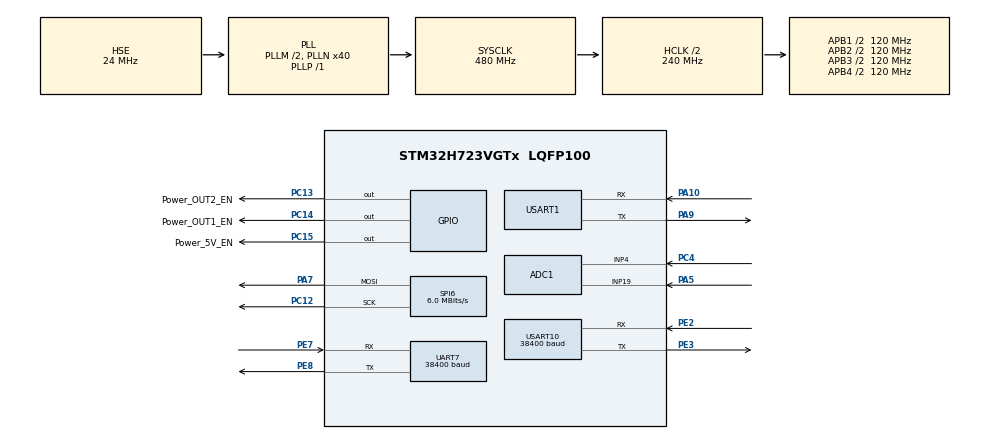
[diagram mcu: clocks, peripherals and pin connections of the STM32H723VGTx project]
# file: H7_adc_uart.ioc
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ADC1.Channel-2\#ChannelRegularConversion=ADC_CHANNEL_4
ADC1.Channel-3\#ChannelRegularConversion=ADC_CHANNEL_19
ADC1.ClockPrescaler=ADC_CLOCK_ASYNC_DIV64
ADC1.ContinuousConvMode=ENABLE
ADC1.ConversionDataManagement=ADC_CONVERSIONDATA_DMA_CIRCULAR
ADC1.EOCSelection=ADC_EOC_SINGLE_CONV
ADC1.NbrOfConversion=2
ADC1.NbrOfConversionFlag=1
ADC1.OffsetNumber-2\#ChannelRegularConversion=ADC_OFFSET_NONE
ADC1.OffsetNumber-3\#ChannelRegularConversion=ADC_OFFSET_NONE
ADC1.OffsetSignedSaturation-2\#ChannelRegularConversion=DISABLE
ADC1.OffsetSignedSaturation-3\#ChannelRegularConversion=DISABLE
ADC1.Overrun=ADC_OVR_DATA_PRESERVED
ADC1.Rank-2\#ChannelRegularConversion=1
ADC1.Rank-3\#ChannelRegularConversion=2
ADC1.SamplingTime-2\#ChannelRegularConversion=ADC_SAMPLETIME_32CYCLES_5
ADC1.SamplingTime-3\#ChannelRegularConversion=ADC_SAMPLETIME_32CYCLES_5
ADC1.master=1
Bdma.Request0=SPI6_TX
Bdma.RequestsNb=1
Bdma.SPI6_TX.0.Direction=DMA_MEMORY_TO_PERIPH
Bdma.SPI6_TX.0.EventEnable=DISABLE
Bdma.SPI6_TX.0.Instance=BDMA_Channel0
Bdma.SPI6_TX.0.MemDataAlignment=DMA_MDATAALIGN_BYTE
Bdma.SPI6_TX.0.MemInc=DMA_MINC_ENABLE
Bdma.SPI6_TX.0.Mode=DMA_NORMAL
Bdma.SPI6_TX.0.PeriphDataAlignment=DMA_PDATAALIGN_BYTE
Bdma.SPI6_TX.0.PeriphInc=DMA_PINC_DISABLE
Bdma.SPI6_TX.0.Polarity=HAL_DMAMUX_REQ_GEN_RISING
Bdma.SPI6_TX.0.Priority=DMA_PRIORITY_LOW
Bdma.SPI6_TX.0.RequestNumber=1
Bdma.SPI6_TX.0.SignalID=NONE
Bdma.SPI6_TX.0.SyncEnable=DISABLE
Bdma.SPI6_TX.0.SyncPolarity=HAL_DMAMUX_SYNC_NO_EVENT
Bdma.SPI6_TX.0.SyncRequestNumber=1
Bdma.SPI6_TX.0.SyncSignalID=NONE
CORTEX_M7.CPU_DCache=Disabled
CORTEX_M7.CPU_ICache=Disabled
Dma.ADC1.0.Direction=DMA_PERIPH_TO_MEMORY
Dma.ADC1.0.EventEnable=DISABLE
Dma.ADC1.0.FIFOMode=DMA_FIFOMODE_DISABLE
Dma.ADC1.0.Instance=DMA1_Stream0
Dma.ADC1.0.MemDataAlignment=DMA_MDATAALIGN_HALFWORD
Dma.ADC1.0.MemInc=DMA_MINC_ENABLE
Dma.ADC1.0.Mode=DMA_CIRCULAR
Dma.ADC1.0.PeriphDataAlignment=DMA_PDATAALIGN_HALFWORD
Dma.ADC1.0.PeriphInc=DMA_PINC_DISABLE
Dma.ADC1.0.Polarity=HAL_DMAMUX_REQ_GEN_RISING
Dma.ADC1.0.Priority=DMA_PRIORITY_LOW
Dma.ADC1.0.RequestNumber=1
Dma.ADC1.0.SignalID=NONE
Dma.ADC1.0.SyncEnable=DISABLE
Dma.ADC1.0.SyncPolarity=HAL_DMAMUX_SYNC_NO_EVENT
Dma.ADC1.0.SyncRequestNumber=1
Dma.ADC1.0.SyncSignalID=NONE
Dma.Request0=ADC1
Dma.Request1=USART1_RX
Dma.Request2=USART1_TX
Dma.Request3=USART10_RX
Dma.Request4=USART10_TX
Dma.Request5=UART7_RX
Dma.Request6=UART7_TX
Dma.UART7_RX.5.Direction=DMA_PERIPH_TO_MEMORY
Dma.UART7_RX.5.EventEnable=DISABLE
Dma.UART7_RX.5.FIFOMode=DMA_FIFOMODE_DISABLE
Dma.UART7_RX.5.Instance=DMA1_Stream4
Dma.UART7_RX.5.MemDataAlignment=DMA_MDATAALIGN_BYTE
Dma.UART7_RX.5.MemInc=DMA_MINC_ENABLE
Dma.UART7_RX.5.Mode=DMA_NORMAL
Dma.UART7_RX.5.PeriphDataAlignment=DMA_PDATAALIGN_BYTE
Dma.UART7_RX.5.PeriphInc=DMA_PINC_DISABLE
Dma.UART7_RX.5.Polarity=HAL_DMAMUX_REQ_GEN_RISING
Dma.UART7_RX.5.Priority=DMA_PRIORITY_LOW
Dma.UART7_RX.5.RequestNumber=1
Dma.UART7_RX.5.SignalID=NONE
Dma.UART7_RX.5.SyncEnable=DISABLE
Dma.UART7_RX.5.SyncPolarity=HAL_DMAMUX_SYNC_NO_EVENT
Dma.UART7_RX.5.SyncRequestNumber=1
Dma.UART7_RX.5.SyncSignalID=NONE
Dma.UART7_TX.6.Direction=DMA_MEMORY_TO_PERIPH
Dma.UART7_TX.6.EventEnable=DISABLE
Dma.UART7_TX.6.FIFOMode=DMA_FIFOMODE_DISABLE
Dma.UART7_TX.6.Instance=DMA1_Stream5
Dma.UART7_TX.6.MemDataAlignment=DMA_MDATAALIGN_BYTE
Dma.UART7_TX.6.MemInc=DMA_MINC_ENABLE
Dma.UART7_TX.6.Mode=DMA_NORMAL
Dma.UART7_TX.6.PeriphDataAlignment=DMA_PDATAALIGN_BYTE
Dma.UART7_TX.6.PeriphInc=DMA_PINC_DISABLE
Dma.UART7_TX.6.Polarity=HAL_DMAMUX_REQ_GEN_RISING
Dma.UART7_TX.6.Priority=DMA_PRIORITY_LOW
Dma.UART7_TX.6.RequestNumber=1
Dma.UART7_TX.6.SignalID=NONE
Dma.UART7_TX.6.SyncEnable=DISABLE
Dma.UART7_TX.6.SyncPolarity=HAL_DMAMUX_SYNC_NO_EVENT
Dma.UART7_TX.6.SyncRequestNumber=1
Dma.UART7_TX.6.SyncSignalID=NONE
Dma.USART10_RX.3.Direction=DMA_PERIPH_TO_MEMORY
Dma.USART10_RX.3.EventEnable=DISABLE
Dma.USART10_RX.3.FIFOMode=DMA_FIFOMODE_DISABLE
Dma.USART10_RX.3.Instance=DMA1_Stream2
Dma.USART10_RX.3.MemDataAlignment=DMA_MDATAALIGN_BYTE
Dma.USART10_RX.3.MemInc=DMA_MINC_ENABLE
Dma.USART10_RX.3.Mode=DMA_NORMAL
Dma.USART10_RX.3.PeriphDataAlignment=DMA_PDATAALIGN_BYTE
Dma.USART10_RX.3.PeriphInc=DMA_PINC_DISABLE
Dma.USART10_RX.3.Polarity=HAL_DMAMUX_REQ_GEN_RISING
Dma.USART10_RX.3.Priority=DMA_PRIORITY_LOW
Dma.USART10_RX.3.RequestNumber=1
Dma.USART10_RX.3.SignalID=NONE
Dma.USART10_RX.3.SyncEnable=DISABLE
Dma.USART10_RX.3.SyncPolarity=HAL_DMAMUX_SYNC_NO_EVENT
Dma.USART10_RX.3.SyncRequestNumber=1
Dma.USART10_RX.3.SyncSignalID=NONE
Dma.USART10_TX.4.Direction=DMA_MEMORY_TO_PERIPH
Dma.USART10_TX.4.EventEnable=DISABLE
Dma.USART10_TX.4.FIFOMode=DMA_FIFOMODE_DISABLE
Dma.USART10_TX.4.Instance=DMA1_Stream3
Dma.USART10_TX.4.MemDataAlignment=DMA_MDATAALIGN_BYTE
Dma.USART10_TX.4.MemInc=DMA_MINC_ENABLE
Dma.USART10_TX.4.Mode=DMA_NORMAL
Dma.USART10_TX.4.PeriphDataAlignment=DMA_PDATAALIGN_BYTE
Dma.USART10_TX.4.PeriphInc=DMA_PINC_DISABLE
Dma.USART10_TX.4.Polarity=HAL_DMAMUX_REQ_GEN_RISING
Dma.USART10_TX.4.Priority=DMA_PRIORITY_LOW
Dma.USART10_TX.4.RequestNumber=1
Dma.USART10_TX.4.SignalID=NONE
Dma.USART10_TX.4.SyncEnable=DISABLE
Dma.USART10_TX.4.SyncPolarity=HAL_DMAMUX_SYNC_NO_EVENT
Dma.USART10_TX.4.SyncRequestNumber=1
Dma.USART10_TX.4.SyncSignalID=NONE
Dma.USART1_RX.1.Direction=DMA_PERIPH_TO_MEMORY
Dma.USART1_RX.1.EventEnable=DISABLE
Dma.USART1_RX.1.FIFOMode=DMA_FIFOMODE_DISABLE
Dma.USART1_RX.1.Instance=DMA1_Stream1
Dma.USART1_RX.1.MemDataAlignment=DMA_MDATAALIGN_BYTE
Dma.USART1_RX.1.MemInc=DMA_MINC_ENABLE
Dma.USART1_RX.1.Mode=DMA_NORMAL
Dma.USART1_RX.1.PeriphDataAlignment=DMA_PDATAALIGN_BYTE
Dma.USART1_RX.1.PeriphInc=DMA_PINC_DISABLE
Dma.USART1_RX.1.Polarity=HAL_DMAMUX_REQ_GEN_RISING
Dma.USART1_RX.1.Priority=DMA_PRIORITY_LOW
Dma.USART1_RX.1.RequestNumber=1
Dma.USART1_RX.1.SignalID=NONE
Dma.USART1_RX.1.SyncEnable=DISABLE
Dma.USART1_RX.1.SyncPolarity=HAL_DMAMUX_SYNC_NO_EVENT
Dma.USART1_RX.1.SyncRequestNumber=1
Dma.USART1_RX.1.SyncSignalID=NONE
Dma.USART1_TX.2.Direction=DMA_MEMORY_TO_PERIPH
Dma.USART1_TX.2.EventEnable=DISABLE
Dma.USART1_TX.2.FIFOMode=DMA_FIFOMODE_DISABLE
Dma.USART1_TX.2.Instance=DMA1_Stream6
Dma.USART1_TX.2.MemDataAlignment=DMA_MDATAALIGN_BYTE
Dma.USART1_TX.2.MemInc=DMA_MINC_ENABLE
Dma.USART1_TX.2.Mode=DMA_NORMAL
Dma.USART1_TX.2.PeriphDataAlignment=DMA_PDATAALIGN_BYTE
Dma.USART1_TX.2.PeriphInc=DMA_PINC_DISABLE
Dma.USART1_TX.2.Polarity=HAL_DMAMUX_REQ_GEN_RISING
Dma.USART1_TX.2.Priority=DMA_PRIORITY_LOW
Dma.USART1_TX.2.RequestNumber=1
Dma.USART1_TX.2.SignalID=NONE
Dma.USART1_TX.2.SyncEnable=DISABLE
Dma.USART1_TX.2.SyncPolarity=HAL_DMAMUX_SYNC_NO_EVENT
Dma.USART1_TX.2.SyncRequestNumber=1
Dma.USART1_TX.2.SyncSignalID=NONE
Mcu.Family=STM32H7
Mcu.Name=STM32H723VGTx
Mcu.Package=LQFP100
NVIC.BDMA_Channel0_IRQn=true\:0\:0\:false\:false\:true\:true\:true\:true
NVIC.DMA1_Stream0_IRQn=true\:0\:0\:false\:false\:true\:false\:true\:true
NVIC.DMA1_Stream1_IRQn=true\:5\:0\:false\:false\:true\:true\:false\:true
NVIC.DMA1_Stream2_IRQn=true\:5\:0\:false\:false\:true\:true\:false\:true
NVIC.DMA1_Stream3_IRQn=true\:5\:0\:false\:false\:true\:true\:false\:true
NVIC.DMA1_Stream4_IRQn=true\:5\:0\:false\:false\:true\:true\:false\:true
NVIC.DMA1_Stream5_IRQn=true\:5\:0\:false\:false\:true\:true\:false\:true
NVIC.DMA1_Stream6_IRQn=true\:5\:0\:false\:false\:true\:true\:false\:true
NVIC.PriorityGroup=NVIC_PRIORITYGROUP_4
NVIC.SPI6_IRQn=true\:0\:0\:false\:false\:true\:true\:true\:true
NVIC.UART7_IRQn=true\:5\:0\:false\:false\:true\:true\:true\:true
NVIC.USART10_IRQn=true\:5\:0\:false\:false\:true\:true\:true\:true
NVIC.USART1_IRQn=true\:5\:0\:false\:false\:true\:true\:true\:true
PA10.Mode=Asynchronous
PA10.Signal=USART1_RX
PA13(JTMS/SWDIO).Mode=Serial_Wire
PA13(JTMS/SWDIO).Signal=DEBUG_JTMS-SWDIO
PA14(JTCK/SWCLK).Mode=Serial_Wire
PA14(JTCK/SWCLK).Signal=DEBUG_JTCK-SWCLK
PA5.Signal=ADCx_INP19
PA7.Mode=TX_Only_Simplex_Unidirect_Master
PA7.Signal=SPI6_MOSI
PA9.Mode=Asynchronous
PA9.Signal=USART1_TX
PC12.Mode=TX_Only_Simplex_Unidirect_Master
PC12.Signal=SPI6_SCK
PC13.GPIO_Label=Power_OUT2_EN
PC13.Signal=GPIO_Output
PC14-OSC32_IN.GPIO_Label=Power_OUT1_EN
PC14-OSC32_IN.Signal=GPIO_Output
PC15-OSC32_OUT.GPIO_Label=Power_5V_EN
PC15-OSC32_OUT.Signal=GPIO_Output
PC4.Signal=ADCx_INP4
PE2.Mode=Asynchronous
PE2.Signal=USART10_RX
PE3.GPIO_ModeDefaultPP=GPIO_MODE_AF_OD
PE3.Mode=Asynchronous
PE3.Signal=USART10_TX
PE7.Mode=Asynchronous
PE7.Signal=UART7_RX
PE8.GPIO_ModeDefaultPP=GPIO_MODE_AF_OD
PE8.Mode=Asynchronous
PE8.Signal=UART7_TX
PH0-OSC_IN.Mode=HSE-External-Oscillator
PH0-OSC_IN.Signal=RCC_OSC_IN
PH1-OSC_OUT.Mode=HSE-External-Oscillator
PH1-OSC_OUT.Signal=RCC_OSC_OUT
ProjectManager.HeapSize=0x200
ProjectManager.StackSize=0x400
ProjectManager.TargetToolchain=STM32CubeIDE
RCC.ADCFreq_Value=96000000
RCC.APB1Freq_Value=120000000
RCC.APB2Freq_Value=120000000
RCC.APB3Freq_Value=120000000
RCC.APB4Freq_Value=120000000
RCC.CortexFreq_Value=480000000
RCC.D1PPRE=RCC_APB3_DIV2
RCC.D2PPRE1=RCC_APB1_DIV2
RCC.D2PPRE2=RCC_APB2_DIV2
RCC.D3PPRE=RCC_APB4_DIV2
RCC.DIVM1=2
RCC.DIVM2=2
RCC.DIVN1=40
RCC.DIVN2=16
RCC.DIVP1=1
RCC.HCLKFreq_Value=240000000
RCC.HPRE=RCC_HCLK_DIV2
RCC.HSE_VALUE=24000000
RCC.PLLFRACN=0
RCC.PLLSourceVirtual=RCC_PLLSOURCE_HSE
RCC.SPI6CLockSelection=RCC_SPI6CLKSOURCE_HSE
RCC.SYSCLKFreq_VALUE=480000000
RCC.SYSCLKSource=RCC_SYSCLKSOURCE_PLLCLK
RCC.USBFreq_Value=240000000
SH.ADCx_INP19.0=ADC1_INP19,IN19-Single-Ended
SH.ADCx_INP4.0=ADC1_INP4,IN4-Single-Ended
SPI6.BaudRatePrescaler=SPI_BAUDRATEPRESCALER_4
SPI6.CLKPhase=SPI_PHASE_2EDGE
SPI6.CalculateBaudRate=6.0 MBits/s
SPI6.DataSize=SPI_DATASIZE_8BIT
SPI6.Direction=SPI_DIRECTION_2LINES_TXONLY
SPI6.Mode=SPI_MODE_MASTER
SPI6.VirtualType=VM_MASTER
UART7.BaudRate=38400
USART1.VirtualMode-Asynchronous=VM_ASYNC
USART10.BaudRate=38400
USART10.VirtualMode=VM_ASYNC
board=custom

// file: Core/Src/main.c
/* USER CODE BEGIN Header */
/**
  ******************************************************************************
  * @file           : main.c
  * @brief          : Main program body
  ******************************************************************************
  * @attention
  *
  * Copyright (c) 2026 STMicroelectronics.
  * All rights reserved.
  *
  * This software is licensed under terms that can be found in the LICENSE file
  * in the root directory of this software component.
  * If no LICENSE file comes with this software, it is provided AS-IS.
  *
  ******************************************************************************
  */
/* USER CODE END Header */
#include "main.h"
#include "adc.h"
#include "bdma.h"
#include "dma.h"
#include "spi.h"
#include "usart.h"
#include "gpio.h"

/* USER CODE BEGIN Includes */
#include <stdio.h>
#include <string.h>
#include "ws2812.h"
/* USER CODE END Includes */

/* USER CODE BEGIN PV */
/* UART RX buffer for WS2812 RGB commands (R0/R1, G0/G1, B0/B1) and echo */
uint8_t rx_data[256] = {0};
uint8_t ws2812_r = 0, ws2812_g = 0, ws2812_b = 0;
/* Motor command packets (M0603A protocol, 10 bytes) - same as H7_0.1.5 */
static const uint8_t data_enable[10]      = {0x01, 0xA0, 0x08, 0x00, 0x00, 0x00, 0x00, 0x00, 0x00, 0x6F};
static const uint8_t data_speed_loop[10]  = {0x01, 0xA0, 0x02, 0x00, 0x00, 0x00, 0x00, 0x00, 0x00, 0xE4};
static const uint8_t data_30RPM[10]       = {0x01, 0x64, 0x01, 0x2C, 0x00, 0x00, 0x00, 0x00, 0x00, 0xA6};
static const uint8_t data_10RPM_CW[10]    = {0x01, 0x64, 0x00, 0x64, 0x00, 0x00, 0x00, 0x00, 0x00, 0x4F};
static const uint8_t data_10RPM_CCW[10]   = {0x01, 0x64, 0xFF, 0x9C, 0x00, 0x00, 0x00, 0x00, 0x00, 0x9A};
static const uint8_t data_30RPM_CCW[10]   = {0x01, 0x64, 0xFE, 0xD4, 0x00, 0x00, 0x00, 0x00, 0x00, 0x73};
/* USER CODE END PV */

void SystemClock_Config(void);
/* USER CODE BEGIN PFP */
static void send_vbus(void);
static void delay_ms_with_vbus(uint32_t ms);
/* USER CODE END PFP */

/* USER CODE BEGIN 0 */
uint16_t adc_val[2];
volatile uint8_t uart1_tx_busy = 0;

static void send_vbus(void)
{
  char txbuf[64];
  float v = (adc_val[0] * 3.3f / 65535.0f) * 11.0f;
  int len = snprintf(txbuf, sizeof(txbuf), "vbus=%.3f V\r\n", v);
  HAL_UART_Transmit(&huart1, (uint8_t*)txbuf, (uint32_t)len, 0xFFFF);
}

/* Delay ms while sending Vbus every 100 ms on USART1 */
static void delay_ms_with_vbus(uint32_t ms)
{
  while (ms >= 100u)
  {
    send_vbus();
    HAL_Delay(100);
    ms -= 100u;
  }
  if (ms > 0u)
  {
    HAL_Delay(ms);
  }
}
/* USER CODE END 0 */

int main(void)
{

  /* MCU Configuration--------------------------------------------------------*/

  /* Reset of all peripherals, Initializes the Flash interface and the Systick. */
  HAL_Init();

  /* Configure the system clock */
  SystemClock_Config();

  /* Initialize all configured peripherals */
  MX_GPIO_Init();
  MX_BDMA_Init();
  MX_DMA_Init();
  MX_ADC1_Init();
  MX_SPI6_Init();
  MX_USART1_UART_Init();
  MX_UART7_Init();
  MX_USART10_UART_Init();
  /* USER CODE BEGIN 2 */
  HAL_ADCEx_Calibration_Start(&hadc1, ADC_CALIB_OFFSET, ADC_SINGLE_ENDED);
  HAL_ADC_Start_DMA(&hadc1, (uint32_t *)adc_val, 2u);
  /* UART1: start receive for WS2812 commands (R0/R1, G0/G1, B0/B1) and echo */
  HAL_UARTEx_ReceiveToIdle_DMA(&huart1, rx_data, sizeof(rx_data));
  __HAL_DMA_DISABLE_IT(huart1.hdmarx, DMA_IT_HT);
  /* Power enable toggles (same as H7_0.1.5) */
  HAL_GPIO_TogglePin(Power_5V_EN_GPIO_Port, Power_5V_EN_Pin);
  HAL_GPIO_TogglePin(Power_OUT2_EN_GPIO_Port, Power_OUT2_EN_Pin);
  HAL_GPIO_TogglePin(Power_OUT1_EN_GPIO_Port, Power_OUT1_EN_Pin);
  HAL_Delay(3000);
  /* USER CODE END 2 */

  /* Infinite loop */
  /* USER CODE BEGIN WHILE */
  while (1)
  {
    /* Parse USART1 RX for WS2812 RGB commands (R0/R1, G0/G1, B0/B1) and update LED */
    if (rx_data[0] == 'R') {
      ws2812_r = (rx_data[1] == '0') ? 0 : 15;
    } else if (rx_data[0] == 'G') {
      ws2812_g = (rx_data[1] == '0') ? 0 : 15;
    } else if (rx_data[0] == 'B') {
      ws2812_b = (rx_data[1] == '0') ? 0 : 15;
    }
    WS2812_Ctrl(0, 255, 0);

    /* --- Motor sequence on USART10 (first motor); USART1 reserved for Vbus --- */
    HAL_UART_Transmit_DMA(&huart10, (uint8_t*)data_enable, 10u);
    delay_ms_with_vbus(100u);
    HAL_UART_Transmit_DMA(&huart10, (uint8_t*)data_speed_loop, 10u);
    delay_ms_with_vbus(1000u);
    HAL_UART_Transmit_DMA(&huart10, (uint8_t*)data_30RPM, 10u);
    delay_ms_with_vbus(1000u);
    HAL_UART_Transmit_DMA(&huart10, (uint8_t*)data_30RPM_CCW, 10u);
    delay_ms_with_vbus(1000u);
    HAL_UART_Transmit_DMA(&huart10, (uint8_t*)data_10RPM_CW, 10u);
    delay_ms_with_vbus(1000u);
    HAL_UART_Transmit_DMA(&huart10, (uint8_t*)data_10RPM_CCW, 10u);
    delay_ms_with_vbus(3000u);

    /* --- Motor sequence on UART7 (second motor) --- */
    HAL_UART_Transmit_DMA(&huart7, (uint8_t*)data_enable, 10u);
    delay_ms_with_vbus(100u);
    HAL_UART_Transmit_DMA(&huart7, (uint8_t*)data_speed_loop, 10u);
    delay_ms_with_vbus(1000u);
    HAL_UART_Transmit_DMA(&huart7, (uint8_t*)data_30RPM, 10u);
    delay_ms_with_vbus(1000u);
    HAL_UART_Transmit_DMA(&huart7, (uint8_t*)data_30RPM_CCW, 10u);
    delay_ms_with_vbus(1000u);
    HAL_UART_Transmit_DMA(&huart7, (uint8_t*)data_10RPM_CW, 10u);
    delay_ms_with_vbus(1000u);
    HAL_UART_Transmit_DMA(&huart7, (uint8_t*)data_10RPM_CCW, 10u);
    delay_ms_with_vbus(3000u);

    /* USER CODE END WHILE */

  }
}

void SystemClock_Config(void)
{
  RCC_OscInitTypeDef RCC_OscInitStruct = {0};
  RCC_ClkInitTypeDef RCC_ClkInitStruct = {0};

  /** Supply configuration update enable
  */
  HAL_PWREx_ConfigSupply(PWR_LDO_SUPPLY);

  /** Configure the main internal regulator output voltage
  */
  __HAL_PWR_VOLTAGESCALING_CONFIG(PWR_REGULATOR_VOLTAGE_SCALE0);

  while(!__HAL_PWR_GET_FLAG(PWR_FLAG_VOSRDY)) {}

  /** Initializes the RCC Oscillators according to the specified parameters
  * in the RCC_OscInitTypeDef structure.
  */
  RCC_OscInitStruct.OscillatorType = RCC_OSCILLATORTYPE_HSE;
  RCC_OscInitStruct.HSEState = RCC_HSE_ON;
  RCC_OscInitStruct.PLL.PLLState = RCC_PLL_ON;
  RCC_OscInitStruct.PLL.PLLSource = RCC_PLLSOURCE_HSE;
  RCC_OscInitStruct.PLL.PLLM = 2;
  RCC_OscInitStruct.PLL.PLLN = 40;
  RCC_OscInitStruct.PLL.PLLP = 1;
  RCC_OscInitStruct.PLL.PLLQ = 2;
  RCC_OscInitStruct.PLL.PLLR = 2;
  RCC_OscInitStruct.PLL.PLLRGE = RCC_PLL1VCIRANGE_3;
  RCC_OscInitStruct.PLL.PLLVCOSEL = RCC_PLL1VCOWIDE;
  RCC_OscInitStruct.PLL.PLLFRACN = 0;
  if (HAL_RCC_OscConfig(&RCC_OscInitStruct) != HAL_OK)
  {
    Error_Handler();
  }

  /** Initializes the CPU, AHB and APB buses clocks
  */
  RCC_ClkInitStruct.ClockType = RCC_CLOCKTYPE_HCLK|RCC_CLOCKTYPE_SYSCLK
                              |RCC_CLOCKTYPE_PCLK1|RCC_CLOCKTYPE_PCLK2
                              |RCC_CLOCKTYPE_D3PCLK1|RCC_CLOCKTYPE_D1PCLK1;
  RCC_ClkInitStruct.SYSCLKSource = RCC_SYSCLKSOURCE_PLLCLK;
  RCC_ClkInitStruct.SYSCLKDivider = RCC_SYSCLK_DIV1;
  RCC_ClkInitStruct.AHBCLKDivider = RCC_HCLK_DIV2;
  RCC_ClkInitStruct.APB3CLKDivider = RCC_APB3_DIV2;
  RCC_ClkInitStruct.APB1CLKDivider = RCC_APB1_DIV2;
  RCC_ClkInitStruct.APB2CLKDivider = RCC_APB2_DIV2;
  RCC_ClkInitStruct.APB4CLKDivider = RCC_APB4_DIV2;

  if (HAL_RCC_ClockConfig(&RCC_ClkInitStruct, FLASH_LATENCY_3) != HAL_OK)
  {
    Error_Handler();
  }
}

/* USER CODE BEGIN 4 */
void HAL_UART_TxCpltCallback(UART_HandleTypeDef *huart)
{
  if (huart->Instance == USART1)
  {
    uart1_tx_busy = 0;
  }
}

void HAL_UART_ErrorCallback(UART_HandleTypeDef *huart)
{
  if (huart->Instance == USART1)
  {
    uart1_tx_busy = 0;
  }
}

/* Echo received bytes on USART1 and re-arm ReceiveToIdle (WS2812 command link) */
void HAL_UARTEx_RxEventCallback(UART_HandleTypeDef *huart, uint16_t Size)
{
  if (huart->Instance == USART1)
  {
    HAL_UART_Transmit_DMA(&huart1, rx_data, Size);
    HAL_UARTEx_ReceiveToIdle_DMA(&huart1, rx_data, sizeof(rx_data));
    __HAL_DMA_DISABLE_IT(huart1.hdmarx, DMA_IT_HT);
  }
}

/* USER CODE END 4 */

void Error_Handler(void)
{
  __disable_irq();
  while (1)
  {
  }
}
